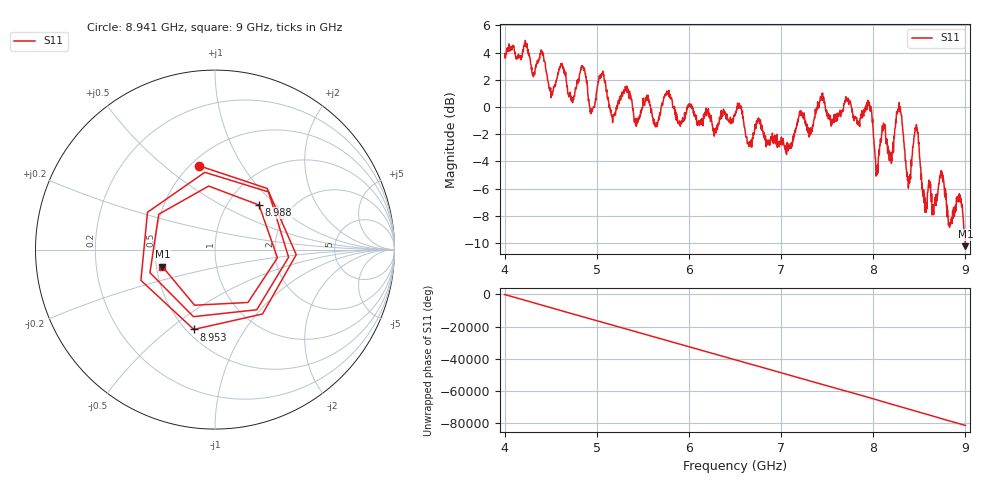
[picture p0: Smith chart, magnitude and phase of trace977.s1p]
! Created with skrf 1.8.0 (http://scikit-rf.org).
# Hz S RI R 50.0
!freq ReS11 ImS11
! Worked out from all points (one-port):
!   1601 points, 4 GHz to 9 GHz, reference 50 ohm
!   lowest |S11| = -10.2 dB at 9 GHz (marker M1), VSWR 1.89, Z = 26.9 - j5.63 ohm
!   |S11| at or under -10 dB: 8.998853 GHz to end of sweep
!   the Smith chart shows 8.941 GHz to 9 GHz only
!   S11 on the Smith chart (normalised r, x): 8.941 GHz: 0.55, +0.67; 8.953 GHz: 0.54, -0.61; 8.988 GHz: 1.39, +0.79; 9 GHz: 0.54, -0.11
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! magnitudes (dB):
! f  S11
! 4 GHz  3.9
! 4.409 GHz  4.0
! 4.506 GHz  0.9
! 4.625 GHz  3.2
! 4.731 GHz  0.4
! 4.853 GHz  2.9
! 4.944 GHz  -0.1
! 5.05 GHz  2.3
! 5.166 GHz  -0.8
! 5.25 GHz  0.7
! 5.875 GHz  -0.8
! 6.5 GHz  -0.6
! 7.125 GHz  -2.7
! 7.441 GHz  1.0
! 7.75 GHz  0.3
! 7.962 GHz  -0.1
! 8.041 GHz  -5.0
! 8.109 GHz  -1.7
! 8.197 GHz  -4.1
! 8.284 GHz  -0.4
! 8.375 GHz  -5.1
! 8.466 GHz  -1.5
! 8.559 GHz  -7.7
! 8.741 GHz  -4.7
! 8.941 GHz  -6.5
! 8.953 GHz  -6.7
! 8.988 GHz  -9.1
! 9 GHz  -10.2
